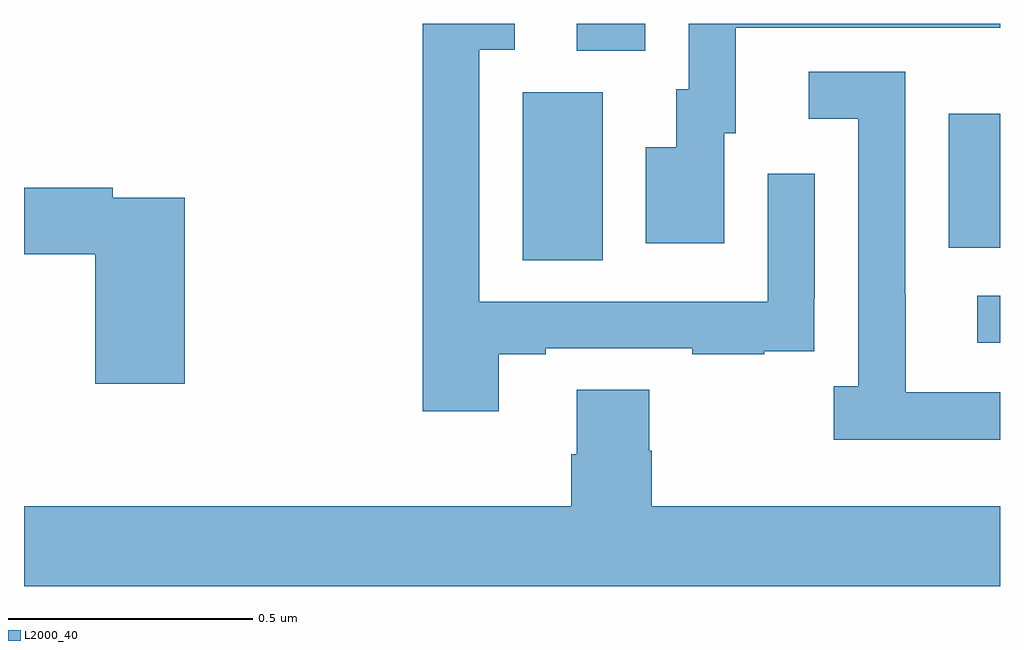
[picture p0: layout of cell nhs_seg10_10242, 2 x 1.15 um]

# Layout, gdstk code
import gdstk
lib = gdstk.Library(unit=1e-6, precision=1e-09)
def R(c, l, rs):  # rectangles x0, y0, x1, y1
    for r in rs: c.add(gdstk.rectangle(r[:2], r[2:], *l))
def P(c, l, *ps):  # polygons
    for p in ps: c.add(gdstk.Polygon(p, *l))
L2000_40 = (2000, 40)

nhs_seg10_10242 = lib.new_cell('nhs_seg10_10242')
R(nhs_seg10_10242, L2000_40, [(241.953,1268.847,242,1268.943), (241.022,1269.016,241.186,1269.36), (241.895,1269.041,242,1269.316), (241.133,1269.445,241.273,1269.5)])
P(nhs_seg10_10242, L2000_40, [(241.435,1269.276),(241.459,1269.276),(241.459,1269.492),(242,1269.492),(242,1269.5),(241.362,1269.5),(241.362,1269.366),(241.337,1269.366),(241.337,1269.247),(241.274,1269.247),(241.274,1269.051),(241.435,1269.051)],
  [(240.973,1268.823),(241.069,1268.823),(241.069,1268.835),(241.369,1268.835),(241.369,1268.823),(241.517,1268.823),(241.517,1268.829),(241.619,1268.829),(241.619,1268.938),(241.62,1268.938),(241.62,1269.193),(241.524,1269.193),(241.524,1268.931),(240.933,1268.931),(240.933,1269.447),(241.006,1269.447),(241.006,1269.5),(240.817,1269.5),(240.817,1268.706),(240.973,1268.706)],
  [(242,1268.745),(241.807,1268.745),(241.807,1268.945),(241.806,1268.945),(241.806,1269.402),(241.608,1269.402),(241.608,1269.306),(241.71,1269.306),(241.71,1268.758),(241.659,1268.758),(241.659,1268.648),(242,1268.648)],
  [(240.329,1269.144),(240.182,1269.144),(240.182,1269.164),(240,1269.164),(240,1269.028),(240.146,1269.028),(240.146,1268.763),(240.329,1268.763)],
  [(242,1268.512),(241.286,1268.512),(241.286,1268.625),(241.281,1268.625),(241.281,1268.75),(241.133,1268.75),(241.133,1268.618),(241.121,1268.618),(241.121,1268.512),(240,1268.512),(240,1268.348),(242,1268.348)])

lib.write_gds('nhs_seg10_10242.gds')
